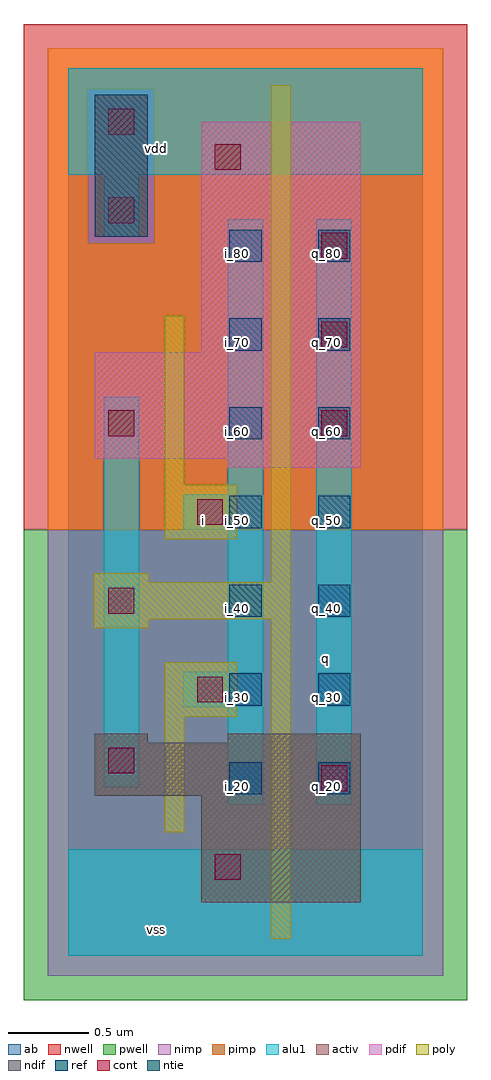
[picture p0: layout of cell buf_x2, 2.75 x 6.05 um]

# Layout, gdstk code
import gdstk
lib = gdstk.Library(unit=1e-6, precision=2.5e-09)
def R(c, l, rs):  # rectangles x0, y0, x1, y1
    for r in rs: c.add(gdstk.rectangle(r[:2], r[2:], *l))
def A(c, l, x, y, w, h, nx, ny, dx, dy):  # array of equal rectangles
    R(c, l, [(x+i*dx, y+j*dy, x+i*dx+w, y+j*dy+h) for i in range(nx) for j in range(ny)])
ndif = (3, 0)
pdif = (4, 0)
ntie = (5, 0)
ref = (24, 0)
cont = (25, 0)
pwell = (41, 0)
nwell = (42, 0)
activ = (43, 0)
pimp = (44, 0)
nimp = (45, 0)
poly = (46, 0)
alu1 = (49, 0)
ab = (63, 0)

buf_x2 = lib.new_cell('buf_x2')
R(buf_x2, ndif, [(0.825,0.33,1.815,0.99), (0.165,0.99,1.815,1.32), (0.165,1.32,0.495,1.375), (0.99,1.32,1.815,1.375)])
R(buf_x2, pdif, [(0.99,3.025,1.815,3.08), (0.165,3.08,1.815,3.74), (0.825,3.74,1.815,5.17)])
R(buf_x2, ntie, [(0.165,4.455,0.495,5.335)])
A(buf_x2, ref, 1, 1, 0.2, 0.2, 1, 7, 0, 0.55)
A(buf_x2, ref, 1.55, 1, 0.2, 0.2, 1, 7, 0, 0.55)
A(buf_x2, cont, 1.57, 3.22, 0.16, 0.16, 1, 3, 0, 0.55)
R(buf_x2, cont, [(0.91,0.47,1.07,0.63), (1.57,1.02,1.73,1.18), (0.25,1.13,0.41,1.29), (0.8,1.57,0.96,1.73), (0.25,2.12,0.41,2.28), (0.8,2.67,0.96,2.83), (0.25,3.22,0.41,3.38), (0.25,4.54,0.41,4.7), (0.91,4.87,1.07,5.03), (0.25,5.09,0.41,5.25)])
R(buf_x2, pwell, [(-0.275,-0.275,2.475,2.64)])
R(buf_x2, nwell, [(-0.275,2.64,2.475,5.775)])
R(buf_x2, activ, [(0.825,0.33,1.815,0.99), (0.165,0.99,1.815,1.32), (0.165,1.32,0.495,1.375), (0.99,1.32,1.815,1.375), (0.99,3.025,1.815,3.08), (0.165,3.08,1.815,3.74), (0.825,3.74,1.815,5.17), (0.165,4.455,0.495,5.335)])
R(buf_x2, pimp, [(-0.125,2.64,2.325,4.415), (-0.125,4.415,0.125,5.375), (0.535,4.415,2.325,5.375), (-0.125,5.375,2.325,5.625)])
R(buf_x2, nimp, [(-0.125,-0.125,2.325,2.64), (0.125,4.415,0.535,5.375)])
R(buf_x2, poly, [(1.26,0.105,1.38,2.085), (0.6,0.765,0.72,1.48), (0.6,1.48,1.05,1.82), (0.16,2.03,0.5,2.085), (0.16,2.085,1.38,2.315), (0.16,2.315,0.5,2.37), (1.26,2.315,1.38,5.395), (0.6,2.58,1.05,2.92), (0.6,2.92,0.72,3.965)])
R(buf_x2, alu1, [(0,0,2.2,0.66), (0.99,0.935,1.21,1.54), (1.54,0.935,1.76,4.565), (0.22,1.045,0.44,3.465), (0.715,1.54,1.21,1.76), (0.99,1.76,1.21,2.64), (0.715,2.64,1.21,2.86), (0.99,2.86,1.21,4.565), (0.22,4.455,0.44,4.84), (0,4.84,2.2,5.5)])
R(buf_x2, ab, [(0,0,2.2,5.5)])
buf_x2.add(gdstk.Label('vss', (0.55,0.165), layer=49, texttype=0))
buf_x2.add(gdstk.Label('q', (1.595,1.8425), layer=49, texttype=0))
buf_x2.add(gdstk.Label('i', (0.8375,2.695), layer=49, texttype=0))
buf_x2.add(gdstk.Label('vdd', (0.55,5.005), layer=49, texttype=0))
buf_x2.add(gdstk.Label('i_20', (1.05,1.05), layer=24, texttype=0))
buf_x2.add(gdstk.Label('i_30', (1.05,1.6), layer=24, texttype=0))
buf_x2.add(gdstk.Label('q_20', (1.6,1.05), layer=24, texttype=0))
buf_x2.add(gdstk.Label('q_50', (1.6,2.7), layer=24, texttype=0))
buf_x2.add(gdstk.Label('q_30', (1.6,1.6), layer=24, texttype=0))
buf_x2.add(gdstk.Label('q_80', (1.6,4.35), layer=24, texttype=0))
buf_x2.add(gdstk.Label('q_70', (1.6,3.8), layer=24, texttype=0))
buf_x2.add(gdstk.Label('q_60', (1.6,3.25), layer=24, texttype=0))
buf_x2.add(gdstk.Label('q_40', (1.6,2.15), layer=24, texttype=0))
buf_x2.add(gdstk.Label('i_80', (1.05,4.35), layer=24, texttype=0))
buf_x2.add(gdstk.Label('i_70', (1.05,3.8), layer=24, texttype=0))
buf_x2.add(gdstk.Label('i_60', (1.05,3.25), layer=24, texttype=0))
buf_x2.add(gdstk.Label('i_50', (1.05,2.7), layer=24, texttype=0))
buf_x2.add(gdstk.Label('i_40', (1.05,2.15), layer=24, texttype=0))

lib.write_gds('buf_x2.gds')
